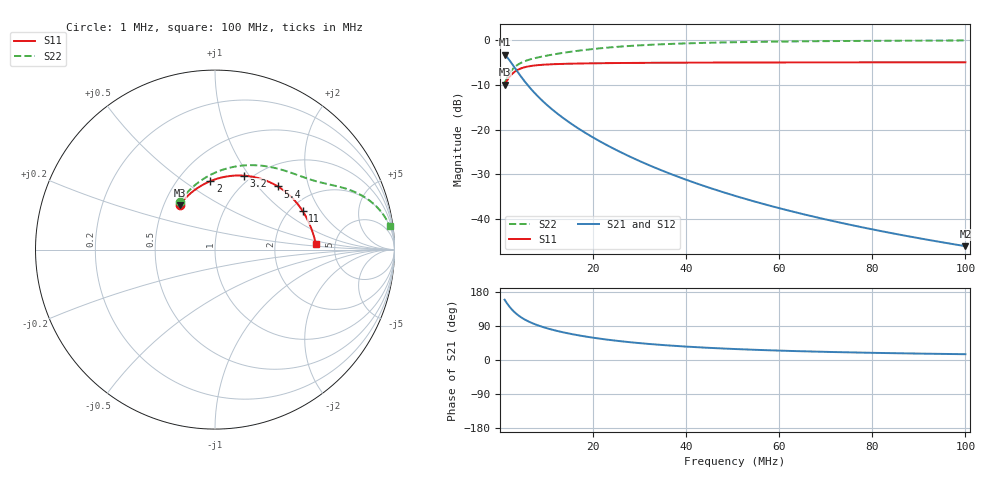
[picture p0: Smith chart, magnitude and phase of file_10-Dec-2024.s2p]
!File from Matlab
!Generated by Escribir_Y_Guardar_S2P class
# HZ S RI R 50
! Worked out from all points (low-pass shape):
!   991 points, 1 MHz to 100 MHz, reference 50 ohm
!   highest |S21| = -3.33 dB at 1 MHz (marker M1); lowest = -46.0 dB at 100 MHz (marker M2)
!   |S21| within 3 dB of the highest: start of sweep to 3.246 MHz
!   lowest |S11| = -10.0 dB at 1 MHz (marker M3), VSWR 1.93, Z = 30.1 + j16.6 ohm
!   |S11| at or under -10 dB: nowhere
!   |S22| runs from -9.6 to -0.2 dB; largest |S21 - S12| = 0
!   S11 on the Smith chart (normalised r, x): 1 MHz: 0.60, +0.33; 2 MHz: 0.71, +0.64; 3.2 MHz: 0.92, +0.94; 5.4 MHz: 1.38, +1.29; 11 MHz: 2.32, +1.40; 100 MHz: 3.53, +0.30
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1000000  -0.1976 0.2482  -0.6367 0.2432  -0.6367 0.2432  -0.1969 0.2664
1400000  -0.1324 0.3169  -0.5716 0.3098  -0.5716 0.3098  -0.1309 0.3423
2000000  -0.026 0.3814  -0.4656 0.3713  -0.4656 0.3713  -0.0229 0.4175
2600000  0.0739 0.4089  -0.3663 0.3958  -0.3663 0.3958  0.0791 0.4556
3200000  0.1589 0.4123  -0.282 0.3962  -0.282 0.3962  0.1666 0.4694
4200000  0.2655 0.3912  -0.1768 0.3704  -0.1768 0.3704  0.2786 0.4652
5400000  0.3493 0.3521  -0.0954 0.3258  -0.0954 0.3258  0.3703 0.4454
6500000  0.3988 0.3168  -0.0483 0.2857  -0.0483 0.2857  0.4286 0.4266
7700000  0.4351 0.283  -0.0151 0.2472  -0.0151 0.2472  0.4757 0.4096
9200000  0.4649 0.2483  0.0105 0.2071  0.0105 0.2071  0.5206 0.3938
1.1e7  0.4877 0.2158  0.0278 0.1691  0.0278 0.1691  0.5632 0.3808
1.4e7  0.5101 0.177  0.0403 0.1233  0.0403 0.1233  0.6204 0.3668
1.75e7  0.5246 0.1466  0.0433 0.0878  0.0433 0.0878  0.6755 0.3544
2.11e7  0.5337 0.1249  0.0414 0.0635  0.0414 0.0635  0.7233 0.3415
2.51e7  0.5403 0.1074  0.0373 0.0455  0.0373 0.0455  0.7677 0.3258
3.4e7  0.5487 0.082  0.0277 0.0236  0.0277 0.0236  0.8397 0.2884
4.19e7  0.5528 0.0678  0.0211 0.0143  0.0211 0.0143  0.8813 0.257
5.05e7  0.5555 0.057  0.016 0.00885  0.016 0.00885  0.9116 0.2272
5.84e7  0.5571 0.0497  0.0127 0.00601  0.0127 0.00601  0.9308 0.2041
6.7e7  0.5583 0.0436  0.01 0.00413  0.01 0.00413  0.9456 0.1831
8.35e7  0.5597 0.0353  0.00678 0.00223  0.00678 0.00223  0.9635 0.1519
1e8  0.5605 0.0296  0.00486 0.00133  0.00486 0.00133  0.974 0.1293
